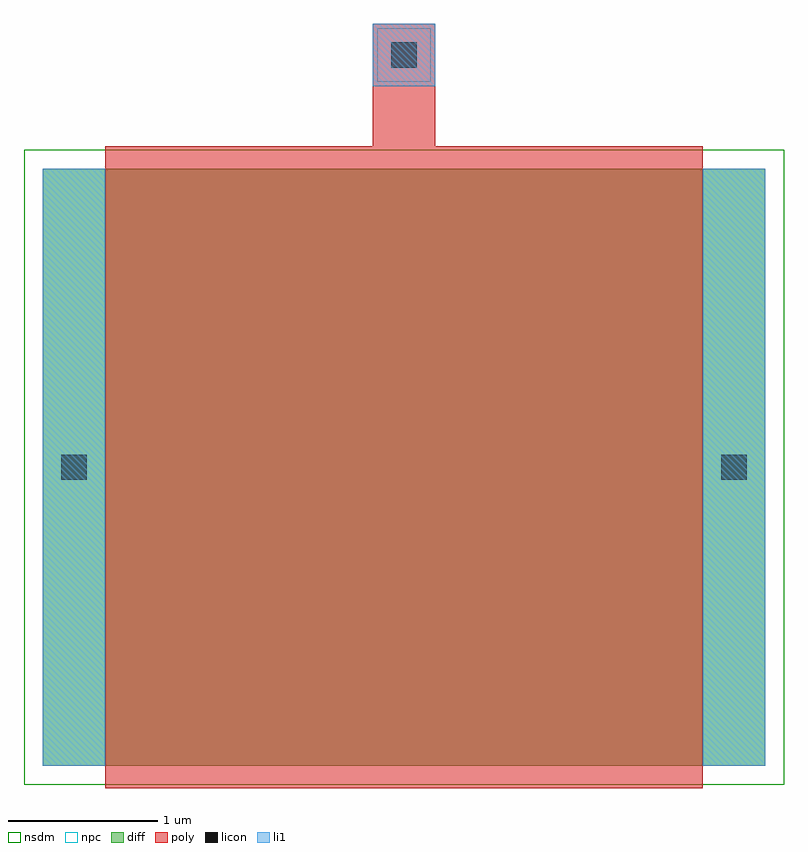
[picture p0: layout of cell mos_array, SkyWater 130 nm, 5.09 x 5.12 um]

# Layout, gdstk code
import gdstk
lib = gdstk.Library(unit=1e-6, precision=1e-09)
def R(c, l, rs):  # rectangles x0, y0, x1, y1
    for r in rs: c.add(gdstk.rectangle(r[:2], r[2:], *l))
diff = (65, 20)
poly = (66, 20)
licon = (66, 44)
li1 = (67, 20)
nsdm = (93, 44)
npc = (95, 20)

mos_array = lib.new_cell('mos_array')
R(mos_array, diff, [(0,0,4.84,4)])
R(mos_array, poly, [(0.42,-0.15,4.42,4), (0.42,4,4.42,4.15), (0.42,4,4.42,4.15), (2.21,4.15,2.63,4.97)])
R(mos_array, licon, [(0.125,1.915,0.295,2.085), (4.545,1.915,4.715,2.085), (2.335,4.675,2.505,4.845)])
R(mos_array, li1, [(0,0,0.42,4), (4.42,0,4.84,4), (2.21,4.55,2.63,4.97)])
R(mos_array, nsdm, [(-0.125,-0.125,4.965,4.125)])
R(mos_array, npc, [(2.24,4.58,2.6,4.94)])

lib.write_gds('mos_array.gds')
